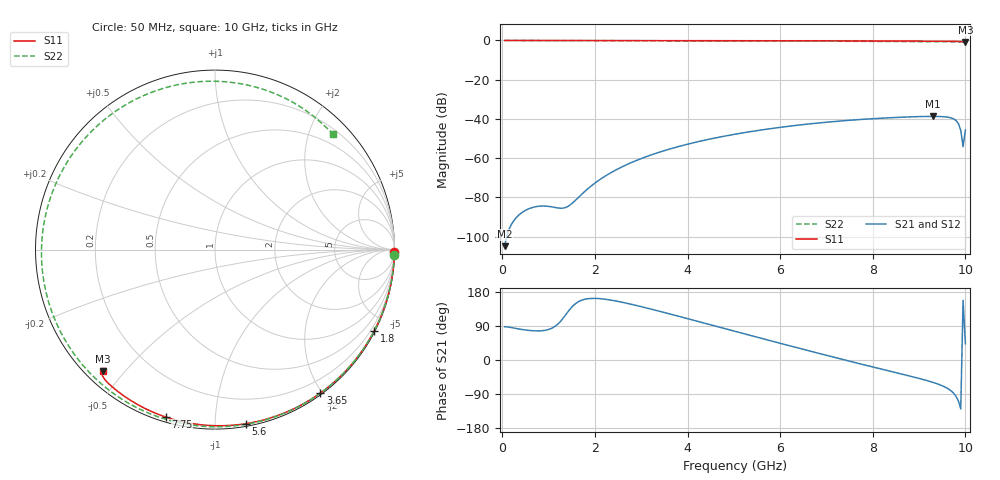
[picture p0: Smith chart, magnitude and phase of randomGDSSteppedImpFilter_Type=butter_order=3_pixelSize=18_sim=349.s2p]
! freq	dB(S11)	phase(S11)	dB(S12)	phase(S12)
!  dB(S21)	phase(S21)	dB(S22)	phase(S22)
!S-par simulation data
#  GHz  S  DB  R 50
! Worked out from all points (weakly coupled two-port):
!   200 points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, 50 MHz to 10 GHz, reference 50 ohm
!   highest |S21| = -38.70 dB at 9.3 GHz (marker M1); lowest = -104.8 dB at 50 MHz (marker M2)
!   lowest |S11| = -0.7 dB at 10 GHz (marker M3), VSWR 24.53, Z = 2.43 - j21.9 ohm
!   |S11| at or under -10 dB: nowhere
!   |S22| runs from -0.7 to 0.0 dB; largest |S21 - S12| = 0
!   S11 on the Smith chart (normalised r, x): 50 MHz: open; 1.8 GHz: 0.04, -4.14; 3.65 GHz: 0.02, -1.97; 5.6 GHz: 0.02, -1.19; 7.75 GHz: 0.02, -0.75; 10 GHz: 0.05, -0.44
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0.05  -0.00 -0.8  -104.85 87.9  -104.85 87.9  -0.00 -1.7
0.8  -0.02 -12.2  -84.47 76.8  -84.47 76.8  -0.03 -26.3
1.6  -0.03 -24.2  -81.03 150.4  -81.03 150.4  -0.07 -51.9
1.75  -0.03 -26.4  -77.63 159.2  -77.63 159.2  -0.07 -56.5
1.8  -0.03 -27.1  -76.56 160.7  -76.56 160.7  -0.07 -58.1
2.45  -0.05 -36.7  -66.04 155.8  -66.04 155.8  -0.10 -77.8
3.4  -0.07 -50.2  -56.89 128.4  -56.89 128.4  -0.13 -105.4
3.65  -0.07 -53.7  -55.10 120.5  -55.10 120.5  -0.14 -112.4
4.3  -0.09 -62.7  -51.20 99.4  -51.20 99.4  -0.18 -130.5
5.05  -0.11 -72.7  -47.68 74.9  -47.68 74.9  -0.22 -151.1
5.6  -0.13 -79.9  -45.60 57.0  -45.60 57.0  -0.26 -166.4
6.7  -0.18 -93.7  -42.37 21.8  -42.37 21.8  -0.35 161.7
7.75  -0.24 -106.4  -40.25 -10.8  -40.25 -10.8  -0.44 128.2
8.35  -0.29 -113.5  -39.41 -28.9  -39.41 -28.9  -0.51 107.3
8.85  -0.33 -119.3  -38.91 -43.9  -38.91 -43.9  -0.56 88.8
9.3  -0.37 -124.6  -38.70 -59.0  -38.70 -59.0  -0.61 71.5
9.65  -0.42 -128.9  -39.23 -77.7  -39.23 -77.7  -0.67 57.7
9.8  -0.48 -130.9  -40.85 -96.3  -40.85 -96.3  -0.70 51.8
9.85  -0.51 -131.6  -42.40 -108.2  -42.40 -108.2  -0.71 49.9
9.9  -0.57 -132.2  -45.83 -129.0  -45.83 -129.0  -0.72 48.0
9.95  -0.66 -132.6  -54.09 157.5  -54.09 157.5  -0.72 46.2
10  -0.71 -132.6  -45.63 42.4  -45.63 42.4  -0.69 44.4
